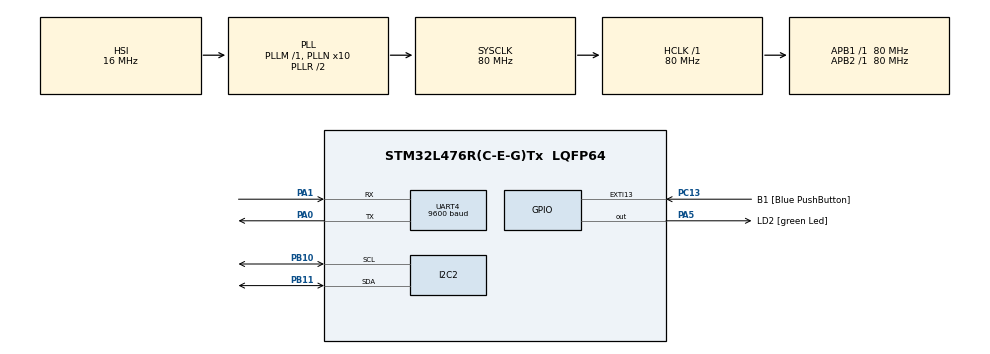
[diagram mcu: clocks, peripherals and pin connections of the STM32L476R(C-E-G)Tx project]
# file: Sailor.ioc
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Dma.Request0=UART4_RX
Dma.UART4_RX.0.Direction=DMA_PERIPH_TO_MEMORY
Dma.UART4_RX.0.Instance=DMA2_Channel5
Dma.UART4_RX.0.MemDataAlignment=DMA_MDATAALIGN_BYTE
Dma.UART4_RX.0.MemInc=DMA_MINC_ENABLE
Dma.UART4_RX.0.Mode=DMA_NORMAL
Dma.UART4_RX.0.PeriphDataAlignment=DMA_PDATAALIGN_BYTE
Dma.UART4_RX.0.PeriphInc=DMA_PINC_DISABLE
Dma.UART4_RX.0.Priority=DMA_PRIORITY_MEDIUM
I2C2.Timing=0x10909CEC
Mcu.Family=STM32L4
Mcu.Name=STM32L476R(C-E-G)Tx
Mcu.Package=LQFP64
NVIC.DMA2_Channel5_IRQn=true\:0\:0\:false\:false\:true\:false\:true\:true
NVIC.I2C2_ER_IRQn=true\:2\:0\:true\:false\:true\:true\:true\:true
NVIC.I2C2_EV_IRQn=true\:3\:0\:true\:false\:true\:true\:true\:true
NVIC.PriorityGroup=NVIC_PRIORITYGROUP_4
NVIC.TIM2_IRQn=true\:4\:0\:true\:false\:true\:true\:true\:true
PA0.Mode=Asynchronous
PA0.Signal=UART4_TX
PA1.Mode=Asynchronous
PA1.Signal=UART4_RX
PA13\ (JTMS-SWDIO).GPIO_Label=TMS
PA13\ (JTMS-SWDIO).Mode=Serial_Wire
PA13\ (JTMS-SWDIO).Signal=SYS_JTMS-SWDIO
PA14\ (JTCK-SWCLK).GPIO_Label=TCK
PA14\ (JTCK-SWCLK).Mode=Serial_Wire
PA14\ (JTCK-SWCLK).Signal=SYS_JTCK-SWCLK
PA2.GPIO_Label=USART_TX
PA2.GPIO_Mode=GPIO_MODE_AF_PP
PA2.GPIO_PuPd=GPIO_NOPULL
PA2.GPIO_Speed=GPIO_SPEED_FREQ_VERY_HIGH
PA2.Signal=USART2_TX
PA3.GPIO_Label=USART_RX
PA3.GPIO_Mode=GPIO_MODE_AF_PP
PA3.GPIO_PuPd=GPIO_NOPULL
PA3.GPIO_Speed=GPIO_SPEED_FREQ_VERY_HIGH
PA3.Signal=USART2_RX
PA5.GPIO_Label=LD2 [green Led]
PA5.GPIO_ModeDefaultOutputPP=GPIO_MODE_OUTPUT_PP
PA5.GPIO_PuPd=GPIO_NOPULL
PA5.GPIO_Speed=GPIO_SPEED_FREQ_LOW
PA5.Signal=GPIO_Output
PB10.Mode=I2C
PB10.Signal=I2C2_SCL
PB11.Mode=I2C
PB11.Signal=I2C2_SDA
PB3\ (JTDO-TRACESWO).GPIO_Label=SWO
PB3\ (JTDO-TRACESWO).Signal=SYS_JTDO-SWO
PC13.GPIO_Label=B1 [Blue PushButton]
PC13.GPIO_ModeDefaultEXTI=GPIO_MODE_IT_FALLING
PC13.GPIO_PuPd=GPIO_NOPULL
PC13.Signal=GPXTI13
PC14-OSC32_IN\ (PC14).Mode=LSE-External-Oscillator
PC14-OSC32_IN\ (PC14).Signal=RCC_OSC32_IN
PC15-OSC32_OUT\ (PC15).Mode=LSE-External-Oscillator
PC15-OSC32_OUT\ (PC15).Signal=RCC_OSC32_OUT
PH0-OSC_IN\ (PH0).Signal=RCC_OSC_IN
PH1-OSC_OUT\ (PH1).Signal=RCC_OSC_OUT
ProjectManager.HeapSize=0x200
ProjectManager.StackSize=0x400
ProjectManager.TargetToolchain=STM32CubeIDE
RCC.ADCFreq_Value=64000000
RCC.AHBFreq_Value=80000000
RCC.APB1Freq_Value=80000000
RCC.APB1TimFreq_Value=80000000
RCC.APB2Freq_Value=80000000
RCC.APB2TimFreq_Value=80000000
RCC.CortexFreq_Value=80000000
RCC.HCLKFreq_Value=80000000
RCC.HSE_VALUE=8000000
RCC.HSI_VALUE=16000000
RCC.MSI_VALUE=4000000
RCC.PLLN=10
RCC.PLLSourceVirtual=RCC_PLLSOURCE_HSI
RCC.PREFETCH_ENABLE=1
RCC.SYSCLKFreq_VALUE=80000000
RCC.SYSCLKSource=RCC_SYSCLKSOURCE_PLLCLK
RCC.USBFreq_Value=64000000
RCC.VCOOutputFreq_Value=160000000
TIM2.Period=99999
TIM2.Prescaler=79
UART4.BaudRate=9600
VP_TIM2_VS_ClockSourceINT.Mode=Internal
board=NUCLEO-L476RG

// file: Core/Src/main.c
/* USER CODE BEGIN Header */
/**
 * @file main.c
 * @brief Main application entry point and peripheral initialization.
 *
 * @author Arkadiusz Rozmarynowicz
 * @date 01.2026
 * @details
 * This file contains the primary entry point for the firmware, configures
 * system clocks and peripherals, and starts the application modules.
 *
 * It provides:
 * - System and peripheral initialization (GPIO, DMA, I2C, UART, TIM)
 * - Main application loop
 * - HAL callback handlers for UART, I2C, and TIM events
 * - Error handling routines
 */
/* USER CODE END Header */
#include "main.h"

/* USER CODE BEGIN Includes */
#include "lcd_handler.h"
#include "observer_comm.h"
/* USER CODE END Includes */

I2C_HandleTypeDef hi2c2;

TIM_HandleTypeDef htim2;

UART_HandleTypeDef huart4;
DMA_HandleTypeDef hdma_uart4_rx;

void SystemClock_Config(void);
static void MX_GPIO_Init(void);
static void MX_DMA_Init(void);
static void MX_I2C2_Init(void);
static void MX_UART4_Init(void);
static void MX_TIM2_Init(void);

int main(void)
{

  /* MCU Configuration--------------------------------------------------------*/

  /* Reset of all peripherals, Initializes the Flash interface and the Systick. */
  HAL_Init();

  /* Configure the system clock */
  SystemClock_Config();

  /* Initialize all configured peripherals */
  MX_GPIO_Init();
  MX_DMA_Init();
  MX_I2C2_Init();
  MX_UART4_Init();
  MX_TIM2_Init();
  /* USER CODE BEGIN 2 */

  if (Initialize_LCD_Handler(&hi2c2) != LCD_OK){
	  Error_Handler();
  };
  if (Initialize_Observer_Comm(&htim2, &huart4) != HAL_OK){
	  Error_Handler();
  }

  /* USER CODE END 2 */

  /* Infinite loop */
  while (1)
  {

  }
}

void SystemClock_Config(void)
{
  RCC_OscInitTypeDef RCC_OscInitStruct = {0};
  RCC_ClkInitTypeDef RCC_ClkInitStruct = {0};

  /** Configure the main internal regulator output voltage
  */
  if (HAL_PWREx_ControlVoltageScaling(PWR_REGULATOR_VOLTAGE_SCALE1) != HAL_OK)
  {
    Error_Handler();
  }

  /** Initializes the RCC Oscillators according to the specified parameters
  * in the RCC_OscInitTypeDef structure.
  */
  RCC_OscInitStruct.OscillatorType = RCC_OSCILLATORTYPE_HSI;
  RCC_OscInitStruct.HSIState = RCC_HSI_ON;
  RCC_OscInitStruct.HSICalibrationValue = RCC_HSICALIBRATION_DEFAULT;
  RCC_OscInitStruct.PLL.PLLState = RCC_PLL_ON;
  RCC_OscInitStruct.PLL.PLLSource = RCC_PLLSOURCE_HSI;
  RCC_OscInitStruct.PLL.PLLM = 1;
  RCC_OscInitStruct.PLL.PLLN = 10;
  RCC_OscInitStruct.PLL.PLLP = RCC_PLLP_DIV7;
  RCC_OscInitStruct.PLL.PLLQ = RCC_PLLQ_DIV2;
  RCC_OscInitStruct.PLL.PLLR = RCC_PLLR_DIV2;
  if (HAL_RCC_OscConfig(&RCC_OscInitStruct) != HAL_OK)
  {
    Error_Handler();
  }

  /** Initializes the CPU, AHB and APB buses clocks
  */
  RCC_ClkInitStruct.ClockType = RCC_CLOCKTYPE_HCLK|RCC_CLOCKTYPE_SYSCLK
                              |RCC_CLOCKTYPE_PCLK1|RCC_CLOCKTYPE_PCLK2;
  RCC_ClkInitStruct.SYSCLKSource = RCC_SYSCLKSOURCE_PLLCLK;
  RCC_ClkInitStruct.AHBCLKDivider = RCC_SYSCLK_DIV1;
  RCC_ClkInitStruct.APB1CLKDivider = RCC_HCLK_DIV1;
  RCC_ClkInitStruct.APB2CLKDivider = RCC_HCLK_DIV1;

  if (HAL_RCC_ClockConfig(&RCC_ClkInitStruct, FLASH_LATENCY_4) != HAL_OK)
  {
    Error_Handler();
  }
}

static void MX_I2C2_Init(void)
{

  hi2c2.Instance = I2C2;
  hi2c2.Init.Timing = 0x10909CEC;
  hi2c2.Init.OwnAddress1 = 0;
  hi2c2.Init.AddressingMode = I2C_ADDRESSINGMODE_7BIT;
  hi2c2.Init.DualAddressMode = I2C_DUALADDRESS_DISABLE;
  hi2c2.Init.OwnAddress2 = 0;
  hi2c2.Init.OwnAddress2Masks = I2C_OA2_NOMASK;
  hi2c2.Init.GeneralCallMode = I2C_GENERALCALL_DISABLE;
  hi2c2.Init.NoStretchMode = I2C_NOSTRETCH_DISABLE;
  if (HAL_I2C_Init(&hi2c2) != HAL_OK)
  {
    Error_Handler();
  }

  /** Configure Analogue filter
  */
  if (HAL_I2CEx_ConfigAnalogFilter(&hi2c2, I2C_ANALOGFILTER_ENABLE) != HAL_OK)
  {
    Error_Handler();
  }

  /** Configure Digital filter
  */
  if (HAL_I2CEx_ConfigDigitalFilter(&hi2c2, 0) != HAL_OK)
  {
    Error_Handler();
  }

}

static void MX_TIM2_Init(void)
{

  TIM_ClockConfigTypeDef sClockSourceConfig = {0};
  TIM_MasterConfigTypeDef sMasterConfig = {0};

  htim2.Instance = TIM2;
  htim2.Init.Prescaler = 79;
  htim2.Init.CounterMode = TIM_COUNTERMODE_UP;
  htim2.Init.Period = 99999;
  htim2.Init.ClockDivision = TIM_CLOCKDIVISION_DIV1;
  htim2.Init.AutoReloadPreload = TIM_AUTORELOAD_PRELOAD_DISABLE;
  if (HAL_TIM_Base_Init(&htim2) != HAL_OK)
  {
    Error_Handler();
  }
  sClockSourceConfig.ClockSource = TIM_CLOCKSOURCE_INTERNAL;
  if (HAL_TIM_ConfigClockSource(&htim2, &sClockSourceConfig) != HAL_OK)
  {
    Error_Handler();
  }
  sMasterConfig.MasterOutputTrigger = TIM_TRGO_RESET;
  sMasterConfig.MasterSlaveMode = TIM_MASTERSLAVEMODE_DISABLE;
  if (HAL_TIMEx_MasterConfigSynchronization(&htim2, &sMasterConfig) != HAL_OK)
  {
    Error_Handler();
  }

}

static void MX_UART4_Init(void)
{

  huart4.Instance = UART4;
  huart4.Init.BaudRate = 9600;
  huart4.Init.WordLength = UART_WORDLENGTH_8B;
  huart4.Init.StopBits = UART_STOPBITS_1;
  huart4.Init.Parity = UART_PARITY_NONE;
  huart4.Init.Mode = UART_MODE_TX_RX;
  huart4.Init.HwFlowCtl = UART_HWCONTROL_NONE;
  huart4.Init.OverSampling = UART_OVERSAMPLING_16;
  huart4.Init.OneBitSampling = UART_ONE_BIT_SAMPLE_DISABLE;
  huart4.AdvancedInit.AdvFeatureInit = UART_ADVFEATURE_NO_INIT;
  if (HAL_UART_Init(&huart4) != HAL_OK)
  {
    Error_Handler();
  }

}

static void MX_DMA_Init(void)
{

  /* DMA controller clock enable */
  __HAL_RCC_DMA2_CLK_ENABLE();

  /* DMA interrupt init */
  /* DMA2_Channel5_IRQn interrupt configuration */
  HAL_NVIC_SetPriority(DMA2_Channel5_IRQn, 0, 0);
  HAL_NVIC_EnableIRQ(DMA2_Channel5_IRQn);

}

static void MX_GPIO_Init(void)
{
  GPIO_InitTypeDef GPIO_InitStruct = {0};

  /* GPIO Ports Clock Enable */
  __HAL_RCC_GPIOC_CLK_ENABLE();
  __HAL_RCC_GPIOH_CLK_ENABLE();
  __HAL_RCC_GPIOA_CLK_ENABLE();
  __HAL_RCC_GPIOB_CLK_ENABLE();

  /*Configure GPIO pin Output Level */
  HAL_GPIO_WritePin(LD2_GPIO_Port, LD2_Pin, GPIO_PIN_RESET);

  /*Configure GPIO pin : B1_Pin */
  GPIO_InitStruct.Pin = B1_Pin;
  GPIO_InitStruct.Mode = GPIO_MODE_IT_FALLING;
  GPIO_InitStruct.Pull = GPIO_NOPULL;
  HAL_GPIO_Init(B1_GPIO_Port, &GPIO_InitStruct);

  /*Configure GPIO pins : USART_TX_Pin USART_RX_Pin */
  GPIO_InitStruct.Pin = USART_TX_Pin|USART_RX_Pin;
  GPIO_InitStruct.Mode = GPIO_MODE_AF_PP;
  GPIO_InitStruct.Pull = GPIO_NOPULL;
  GPIO_InitStruct.Speed = GPIO_SPEED_FREQ_VERY_HIGH;
  GPIO_InitStruct.Alternate = GPIO_AF7_USART2;
  HAL_GPIO_Init(GPIOA, &GPIO_InitStruct);

  /*Configure GPIO pin : LD2_Pin */
  GPIO_InitStruct.Pin = LD2_Pin;
  GPIO_InitStruct.Mode = GPIO_MODE_OUTPUT_PP;
  GPIO_InitStruct.Pull = GPIO_NOPULL;
  GPIO_InitStruct.Speed = GPIO_SPEED_FREQ_LOW;
  HAL_GPIO_Init(LD2_GPIO_Port, &GPIO_InitStruct);

}

/* USER CODE BEGIN 4 */
void HAL_UART_RxCpltCallback(UART_HandleTypeDef *huart) {
	if (_obs_uart_receive_it_callback(huart) != HAL_OK){
		Error_Handler();
	};
}

void HAL_UART_TxCpltCallback(UART_HandleTypeDef *huart) {
	if (_obs_uart_transmit_it_callback(huart) != HAL_OK){
		Error_Handler();
	}
}

void HAL_I2C_MasterRxCpltCallback(I2C_HandleTypeDef *hi2c){
	if (_lcd_i2c_receive_it_callback(hi2c) != HAL_OK) {
		Error_Handler();
	}
}

void HAL_I2C_MasterTxCpltCallback(I2C_HandleTypeDef *hi2c) {
	if (_lcd_i2c_transmit_it_callback(hi2c) != HAL_OK){
		Error_Handler();
	}
}

void HAL_TIM_PeriodElapsedCallback(TIM_HandleTypeDef *htim){
	if (_obs_timer_period_elapsed_it_callback(htim) != HAL_OK){
		Error_Handler();
	}
}
/* USER CODE END 4 */

void Error_Handler(void)
{
  /* USER CODE BEGIN Error_Handler_Debug */
  /* User can add his own implementation to report the HAL error return state */
  __disable_irq();
  HAL_GPIO_WritePin(GPIOA, GPIO_PIN_5, 1);
  while (1)
  {
  }
  /* USER CODE END Error_Handler_Debug */
}
